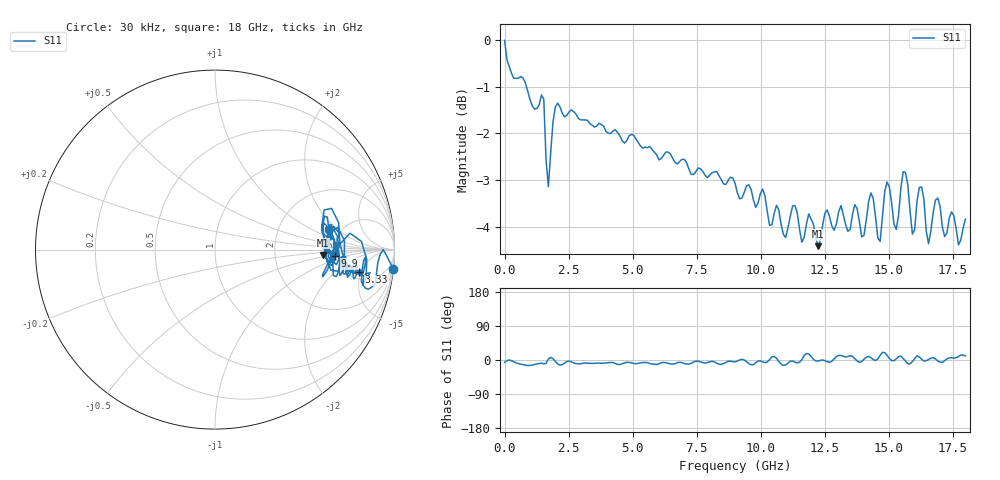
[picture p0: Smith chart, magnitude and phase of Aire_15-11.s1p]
!Keysight Technologies N9917A: A.12.46
!Date: Thursday, 16 November 2023 19:11:54
!TimeZone: (UTC-03:00) Buenos Aires!Model: N9917A
!Serial: MY56072049
!GPS Latitude:
!GPS Longitude:
!GPS TimeStamp: 0001-01-01 00:00:00Z
!GPS Seconds Since Last Read: 0
!CHECKSUM:1789246397
!Correction: S11(Rdy)
!S1P File: Measurement: S11:
# Hz S RI R 50
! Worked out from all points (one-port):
!   201 points, 30 kHz to 18 GHz, reference 50 ohm
!   lowest |S11| = -4.4 dB at 12.24 GHz (marker M1), VSWR 4.03, Z = 200 - j18.4 ohm
!   |S11| at or under -10 dB: nowhere
!   S11 on the Smith chart (normalised r, x): 30 kHz: 0, -19; 3.33 GHz: 6.23, -4.64; 9.9 GHz: 4.98, -0.62; 18 GHz: 3.96, +1.56
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30000  0.9926 -0.1061
1.800297e8  0.9368 -0.000245
9.900284e8  0.8367 -0.214
1.530027e9  0.8503 -0.1538
1.800027e9  0.7521 0.0913
2.250026e9  0.8156 -0.1788
3.330024e9  0.8039 -0.1258
4.500022e9  0.7728 -0.1629
6.750019e9  0.7316 -0.0887
9.000015e9  0.7007 -0.0595
9.900014e9  0.669 -0.0342
1.053001e10  0.6438 0.1065
1.089001e10  0.6014 -0.1504
1.125001e10  0.6638 -0.0321
1.152001e10  0.6245 -0.0642
1.179001e10  0.608 0.1861
1.224001e10  0.6015 -0.0294
1.350001e10  0.6158 0.1218
1.386001e10  0.6355 -0.0711
1.422001e10  0.6631 0.1108
1.449001e10  0.6467 -0.0161
1.485001e10  0.6496 0.2295
1.512e10  0.6693 -0.02
1.548e10  0.6838 0.1244
1.575e10  0.6893 -0.1211
1.611e10  0.6603 0.1289
1.71e10  0.6269 -0.0712
1.8e10  0.6329 0.1157
